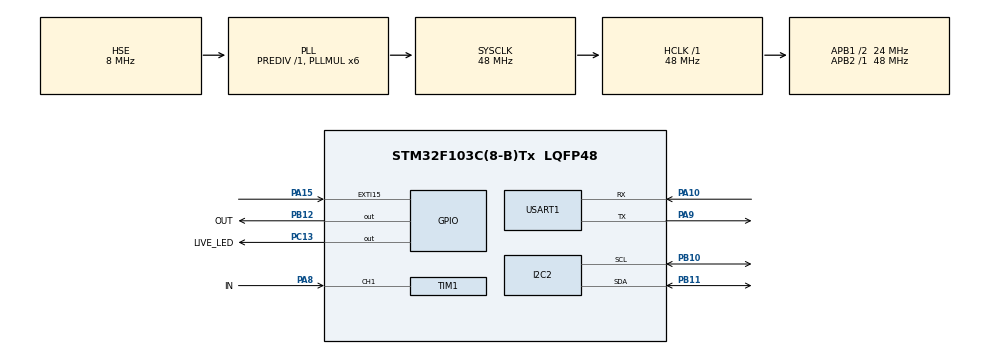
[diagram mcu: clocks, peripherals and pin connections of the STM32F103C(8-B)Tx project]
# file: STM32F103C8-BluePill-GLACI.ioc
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Dma.Request0=USART1_RX
Dma.USART1_RX.0.Direction=DMA_PERIPH_TO_MEMORY
Dma.USART1_RX.0.Instance=DMA1_Channel5
Dma.USART1_RX.0.MemDataAlignment=DMA_MDATAALIGN_BYTE
Dma.USART1_RX.0.MemInc=DMA_MINC_ENABLE
Dma.USART1_RX.0.Mode=DMA_NORMAL
Dma.USART1_RX.0.PeriphDataAlignment=DMA_PDATAALIGN_BYTE
Dma.USART1_RX.0.PeriphInc=DMA_PINC_DISABLE
Dma.USART1_RX.0.Priority=DMA_PRIORITY_MEDIUM
Mcu.Family=STM32F1
Mcu.Name=STM32F103C(8-B)Tx
Mcu.Package=LQFP48
NVIC.DMA1_Channel5_IRQn=true\:0\:0\:false\:false\:true\:false\:true\:true
NVIC.EXTI15_10_IRQn=true\:0\:0\:false\:false\:true\:true\:true\:true
NVIC.PriorityGroup=NVIC_PRIORITYGROUP_4
NVIC.TIM1_BRK_IRQn=true\:0\:0\:false\:false\:true\:true\:true\:true
NVIC.TIM1_CC_IRQn=true\:0\:0\:false\:false\:true\:true\:true\:true
NVIC.TIM1_TRG_COM_IRQn=true\:0\:0\:false\:false\:true\:true\:true\:true
NVIC.TIM1_UP_IRQn=true\:0\:0\:false\:false\:true\:true\:true\:true
NVIC.USART1_IRQn=true\:0\:0\:false\:false\:true\:true\:true\:true
PA10.Mode=Asynchronous
PA10.Signal=USART1_RX
PA13.Mode=Serial_Wire
PA13.Signal=SYS_JTMS-SWDIO
PA14.Mode=Serial_Wire
PA14.Signal=SYS_JTCK-SWCLK
PA15.GPIO_ModeDefaultEXTI=GPIO_MODE_IT_RISING_FALLING
PA15.Signal=GPXTI15
PA8.GPIO_Label=IN
PA8.Signal=S_TIM1_CH1
PA9.Mode=Asynchronous
PA9.Signal=USART1_TX
PB10.Mode=I2C
PB10.Signal=I2C2_SCL
PB11.Mode=I2C
PB11.Signal=I2C2_SDA
PB12.GPIO_Label=OUT
PB12.Signal=GPIO_Output
PC13-TAMPER-RTC.GPIO_Label=LIVE_LED
PC13-TAMPER-RTC.Signal=GPIO_Output
PD0-OSC_IN.Mode=HSE-External-Oscillator
PD0-OSC_IN.Signal=RCC_OSC_IN
PD1-OSC_OUT.Mode=HSE-External-Oscillator
PD1-OSC_OUT.Signal=RCC_OSC_OUT
ProjectManager.HeapSize=0x200
ProjectManager.StackSize=0x400
ProjectManager.TargetToolchain=STM32CubeIDE
RCC.AHBFreq_Value=48000000
RCC.APB1CLKDivider=RCC_HCLK_DIV2
RCC.APB1Freq_Value=24000000
RCC.APB1TimFreq_Value=48000000
RCC.APB2Freq_Value=48000000
RCC.APB2TimFreq_Value=48000000
RCC.HCLKFreq_Value=48000000
RCC.PLLMUL=RCC_PLL_MUL6
RCC.PLLSourceVirtual=RCC_PLLSOURCE_HSE
RCC.SYSCLKFreq_VALUE=48000000
RCC.SYSCLKSource=RCC_SYSCLKSOURCE_PLLCLK
RCC.USBFreq_Value=48000000
SH.S_TIM1_CH1.0=TIM1_CH1,Input_Capture1_from_TI1
TIM1.AutoReloadPreload=TIM_AUTORELOAD_PRELOAD_ENABLE
TIM1.Channel-Input_Capture1_from_TI1=TIM_CHANNEL_1
TIM1.ICPolarity_CH1=TIM_INPUTCHANNELPOLARITY_RISING
TIM1.ICPrescaler-Input_Capture1_from_TI1=TIM_ICPSC_DIV1
TIM1.Period=0xFFFF
TIM1.TIM_MasterOutputTrigger=TIM_TRGO_RESET
TIM1.TIM_MasterSlaveMode=TIM_MASTERSLAVEMODE_ENABLE
USART1.VirtualMode=VM_ASYNC
VP_TIM1_VS_ClockSourceINT.Mode=Internal
board=custom

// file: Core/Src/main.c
/* USER CODE BEGIN Header */
/**
  ******************************************************************************
  * @file           : main.c
  * @brief          : Main program body
  ******************************************************************************
  * @attention
  *
  * Copyright (c) 2022 STMicroelectronics.
  * All rights reserved.
  *
  * This software is licensed under terms that can be found in the LICENSE file
  * in the root directory of this software component.
  * If no LICENSE file comes with this software, it is provided AS-IS.
  *
  ******************************************************************************
  */
/* USER CODE END Header */
#include "main.h"

/* USER CODE BEGIN Includes */
#include "LiveLed.h"
#include "vt100.h"
#include "SSD1306_128x32_I2C.h"
#include <stdio.h>
#include "string.h"
#include "Common.h"
/* USER CODE END Includes */

/* USER CODE BEGIN PTD */

#define MAX_EDGES 1024
typedef struct _Device_t
{

  struct _Diag
  {
    uint32_t RxCommandsCounter;
    uint32_t TxResponseCounter;
    uint32_t RxDMAErrorCounter;
    uint32_t DMAstatus;
    uint32_t UartErrorCounter;
    uint32_t UartBufferOverflowCnt;
    uint32_t UpTimeSec;
  }Diag;

  struct _Man{
    uint8_t  Raw[MAX_EDGES/8];
    uint16_t EdgeIndex;
    uint16_t Times[256];
  }Man;
}Device_t;

/* USER CODE END PTD */

/* USER CODE BEGIN PD */

/*** UART ***/
#define UART_BUFFER_SIZE        40

/*** MANCHESTER DECODER ***/
#define MANCHESTER_BIT_TIME     4616

#define REALTIME_1_BIT    4616
#define REALTIME_1_5_BIT  1.5 * REALTIME_1_BIT
#define REALTIME_2_BIT    2 * REALTIME_1_BIT
#define BIT_4_5           3 * REALTIME_1_BIT

#define LESS              0
#define ONE_BIT           1
#define ONE_AND_HALF_BIT  2
#define TWO_BITS          3
#define INITIAL           4

/* USER CODE END PD */

 I2C_HandleTypeDef hi2c2;

TIM_HandleTypeDef htim1;

UART_HandleTypeDef huart1;
DMA_HandleTypeDef hdma_usart1_rx;

/* USER CODE BEGIN PV */
LiveLED_HnadleTypeDef hLiveLed;
Device_t Device;

/*** UART ***/
char UartRxBuffer[UART_BUFFER_SIZE];
char UartTxBuffer[UART_BUFFER_SIZE];

/* USER CODE END PV */

void SystemClock_Config(void);
static void MX_GPIO_Init(void);
static void MX_TIM1_Init(void);
static void MX_USART1_UART_Init(void);
static void MX_DMA_Init(void);
static void MX_I2C2_Init(void);
/* USER CODE BEGIN PFP */

/*** LiveLed ***/
void LiveLedOff(void);
void LiveLedOn(void);

/*** Display ***/
uint8_t DisplayI2CWrite(uint8_t* wdata, size_t wlength);

void ArrayToolsU8SetBit(const uint16_t index, void* array);

/* USER CODE END PFP */

/* USER CODE BEGIN 0 */

void HAL_TIM_IC_CaptureCallback(TIM_HandleTypeDef *htim)
{
/*
  if(Device.Man.EdgeIndex < 256)
  {
    Device.Man.Times[Device.Man.EdgeIndex] = HAL_TIM_ReadCapturedValue( htim, TIM_CHANNEL_1);

    DelayUs(2);
    if(HAL_GPIO_ReadPin(IN_GPIO_Port, IN_Pin) == GPIO_PIN_SET)
    {
      //ArrayToolsU8SetBit(Device.Man.EdgeIndex, Device.Man.Raw);
      HAL_GPIO_WritePin(OUT_GPIO_Port, OUT_Pin, GPIO_PIN_SET);
    }
    else
    {
      HAL_GPIO_WritePin(OUT_GPIO_Port, OUT_Pin, GPIO_PIN_RESET);
    }
    Device.Man.EdgeIndex ++;

  }

  __HAL_TIM_SetCounter(htim, 0);
*/
}

void HAL_GPIO_EXTI_Callback(uint16_t GPIO_Pin)
{
  if(Device.Man.EdgeIndex < MAX_EDGES)
  {
    if(HAL_GPIO_ReadPin(IN_GPIO_Port, IN_Pin) == GPIO_PIN_SET)
    {
      HAL_GPIO_WritePin(OUT_GPIO_Port, OUT_Pin, GPIO_PIN_SET);
      //ArrayToolsU8SetBit(Device.Man.EdgeIndex, Device.Man.Raw);
      uint8_t byteIdx = Device.Man.EdgeIndex / 8;
      uint8_t bitIdx = Device.Man.EdgeIndex % 8;
      Device.Man.Raw[byteIdx] |= (1<<bitIdx);
    }
    else
    {
      HAL_GPIO_WritePin(OUT_GPIO_Port, OUT_Pin, GPIO_PIN_RESET);
    }
    Device.Man.EdgeIndex ++;
  }
}

void ArrayToolsU8SetBit(const uint16_t index, void* array)
{
  uint8_t *ptr = array;
  uint16_t bitIndex;
  uint8_t  mask;
  uint8_t  byteIndex;

  mask = 0x80;
  byteIndex = 0x00;
  bitIndex = 1;

  byteIndex = index/8;
  if(index % 8)
  {
     bitIndex = index - (byteIndex*8);
     mask = 1;
     mask <<= bitIndex;
  }
  else
     mask = 0x01;

  ptr[byteIndex]|= mask;
}

void HAL_TIM_PeriodElapsedCallback(TIM_HandleTypeDef *htim)
{

}

/* UART ----------------------------------------------------------------------*/
void UartTask(void)
{
  uint8_t terminated = 0;

  if(strlen(UartRxBuffer)==0)
    return;

  for(uint8_t i=0; i<strlen(UartRxBuffer);i++)
  if(/*UartRxBuffer[i]=='\r' ||*/ UartRxBuffer[i]=='\n')
  {
    UartRxBuffer[i]=0;
    terminated = 1;
  }

  if(!terminated)
     return;
  else
    HAL_UART_DMAStop(&huart1);

  Device.Diag.RxCommandsCounter++;

  char cmd[20];
  char arg1[10];
  char arg2[10];
  uint8_t params = sscanf(UartRxBuffer, "%s %s %s", cmd, arg1, arg2);

  if(params == 1)
  {/*** parméter mentes utasitások ***/
    if(!strcmp(cmd, "*OPC?"))
    {
      strcpy(UartTxBuffer, "*OPC");
    }
    else if(!strcmp(cmd, "*RDY?"))
    {
      strcpy(UartTxBuffer, "*RDY");
    }
    else if(!strcmp(cmd, "*WHOIS?"))
    {
      strcpy(UartTxBuffer, DEVICE_NAME);
    }
    else if(!strcmp(cmd, "*VER?"))
    {
      strcpy(UartTxBuffer, DEVICE_FW);
    }
    else if(!strcmp(cmd, "*UID?"))
    {
      sprintf(UartTxBuffer, "%4lX%4lX%4lX",HAL_GetUIDw0(), HAL_GetUIDw1(), HAL_GetUIDw2());
    }
    else if(!strcmp(cmd,"UPTIME?"))
    {
      sprintf(UartTxBuffer, "%ld", Device.Diag.UpTimeSec);
    }
    else
    {
      strcpy(UartTxBuffer, "!UNKNOWN");
    }
  }
  if(params == 2)
  {/*** Paraméteres utasitások ***/
    strcpy(UartTxBuffer, "!UNKNOWN");
  }

  uint8_t resp_len =strlen(UartTxBuffer);
  UartTxBuffer[resp_len]= '\n';
  UartTxBuffer[++resp_len]= 0;

  HAL_Delay(100);
  if(strlen(UartTxBuffer)!=0)
  {
    Device.Diag.TxResponseCounter++;
    HAL_UART_Transmit(&huart1, (uint8_t*) UartTxBuffer, sizeof(UartTxBuffer), 100);
    memset(UartTxBuffer,0x00,UART_BUFFER_SIZE);
    if(HAL_UART_Receive_DMA(&huart1, (uint8_t*) UartRxBuffer, UART_BUFFER_SIZE) != HAL_OK)
      Device.Diag.RxDMAErrorCounter++;
  }
}

void HAL_UART_ErrorCallback(UART_HandleTypeDef *huart)
{
  Device.Diag.UartErrorCounter++;
  /*
  __HAL_UART_CLEAR_FLAG(huart,UART_CLEAR_PEF);
  __HAL_UART_CLEAR_FLAG(huart,UART_CLEAR_FEF);
  __HAL_UART_CLEAR_FLAG(huart,UART_CLEAR_NEF);
  __HAL_UART_CLEAR_FLAG(huart,UART_CLEAR_OREF);

  Device.Diag.DMAstatus = HAL_DMA_GetError(&hdma_usart1_rx);
  HAL_UART_DMAStop(&huart1);
  */

  HAL_UART_MspDeInit(&huart1);
  MX_USART1_UART_Init();

  if(HAL_UART_Receive_DMA(&huart1, (uint8_t*) UartRxBuffer, UART_BUFFER_SIZE) != HAL_OK)
    Device.Diag.RxDMAErrorCounter++;
}
/* USER CODE END 0 */

int main(void)
{

  /* MCU Configuration--------------------------------------------------------*/

  /* Reset of all peripherals, Initializes the Flash interface and the Systick. */
  HAL_Init();

  /* Configure the system clock */
  SystemClock_Config();

  /* Initialize all configured peripherals */
  MX_GPIO_Init();
  MX_TIM1_Init();
  MX_USART1_UART_Init();
  MX_DMA_Init();
  MX_I2C2_Init();
  /* USER CODE BEGIN 2 */

  printf(VT100_CLEARSCREEN);
  printf(VT100_CURSORHOME);
  printf(VT100_ATTR_RESET);

  /*** Display ***/
  SSD1306_Init(DisplayI2CWrite);
  SSD1306_DisplayClear();
  SSD1306_DisplayUpdate();

  SSD1306_DrawPixel(0, 0, SSD1306_WHITE);
  SSD1306_DrawPixel(SSD1306_WIDTH - 1, SSD1306_HEIGHT - 1, SSD1306_WHITE);
  SSD1306_DrawLine(0, 1, 127, 1, SSD1306_WHITE);
  SSD1306_DrawLine(0, 2, 127, 2, SSD1306_WHITE);
  SSD1306_DrawLine(3, 3, 4, 4, SSD1306_WHITE);

  SSD1306_SetCursor(0, 4);
  SSD1306_DrawString("Hello World", &GfxFont7x8, SSD1306_WHITE );
  SSD1306_DisplayUpdate();

  SSD1306_DisplayClear();
  SSD1306_DisplayUpdate();

  /*
#ifdef DEBUG
  printf(VT100_ATTR_RED);
  DeviceUsrLog("This is a DEBUG version.\n");
  printf(VT100_ATTR_RESET);
#endif

  DeviceUsrLog("Manufacturer:%s, Version:%04X",DEVICE_MNF, DEVICE_FW);
*/

  /*** LiveLed ***/
  hLiveLed.LedOffFnPtr = &LiveLedOff;
  hLiveLed.LedOnFnPtr = &LiveLedOn;
  hLiveLed.HalfPeriodTimeMs = 500;
  LiveLedInit(&hLiveLed);

  memset(Device.Man.Raw, 0x00, MAX_EDGES/8);

  /*** "Kelj fel és járj" ***/
  HAL_UART_Receive_DMA (&huart1, (uint8_t*)UartRxBuffer, UART_BUFFER_SIZE);

  /* USER CODE END 2 */

  /* Infinite loop */
  /* USER CODE BEGIN WHILE */
  while (1)
  {
    static uint32_t timestamp;
    static uint32_t timestamp1s;
    LiveLedTask(&hLiveLed);
    char string[50];

    if(HAL_GetTick() - timestamp > 250)
    {
      timestamp = HAL_GetTick();
      SSD1306_SetCursor(0, 1);
      memset(string, 0x00, sizeof(string));
      sprintf(string, "Live:%04ld", Device.Diag.UpTimeSec);

      SSD1306_DisplayClear();
      SSD1306_DrawString(string, &GfxFont7x8, SSD1306_WHITE );
      SSD1306_DisplayUpdate();
    }

    if(HAL_GetTick() - timestamp1s > 1000)
    {
        timestamp1s = HAL_GetTick();
        /*** 1sec-es ütem ***/
        Device.Diag.UpTimeSec++;
    }

    /* USER CODE END WHILE */

  }
}

void SystemClock_Config(void)
{
  RCC_OscInitTypeDef RCC_OscInitStruct = {0};
  RCC_ClkInitTypeDef RCC_ClkInitStruct = {0};

  /** Initializes the RCC Oscillators according to the specified parameters
  * in the RCC_OscInitTypeDef structure.
  */
  RCC_OscInitStruct.OscillatorType = RCC_OSCILLATORTYPE_HSE;
  RCC_OscInitStruct.HSEState = RCC_HSE_ON;
  RCC_OscInitStruct.HSEPredivValue = RCC_HSE_PREDIV_DIV1;
  RCC_OscInitStruct.HSIState = RCC_HSI_ON;
  RCC_OscInitStruct.PLL.PLLState = RCC_PLL_ON;
  RCC_OscInitStruct.PLL.PLLSource = RCC_PLLSOURCE_HSE;
  RCC_OscInitStruct.PLL.PLLMUL = RCC_PLL_MUL6;
  if (HAL_RCC_OscConfig(&RCC_OscInitStruct) != HAL_OK)
  {
    Error_Handler();
  }

  /** Initializes the CPU, AHB and APB buses clocks
  */
  RCC_ClkInitStruct.ClockType = RCC_CLOCKTYPE_HCLK|RCC_CLOCKTYPE_SYSCLK
                              |RCC_CLOCKTYPE_PCLK1|RCC_CLOCKTYPE_PCLK2;
  RCC_ClkInitStruct.SYSCLKSource = RCC_SYSCLKSOURCE_PLLCLK;
  RCC_ClkInitStruct.AHBCLKDivider = RCC_SYSCLK_DIV1;
  RCC_ClkInitStruct.APB1CLKDivider = RCC_HCLK_DIV2;
  RCC_ClkInitStruct.APB2CLKDivider = RCC_HCLK_DIV1;

  if (HAL_RCC_ClockConfig(&RCC_ClkInitStruct, FLASH_LATENCY_1) != HAL_OK)
  {
    Error_Handler();
  }
}

static void MX_I2C2_Init(void)
{

  hi2c2.Instance = I2C2;
  hi2c2.Init.ClockSpeed = 100000;
  hi2c2.Init.DutyCycle = I2C_DUTYCYCLE_2;
  hi2c2.Init.OwnAddress1 = 0;
  hi2c2.Init.AddressingMode = I2C_ADDRESSINGMODE_7BIT;
  hi2c2.Init.DualAddressMode = I2C_DUALADDRESS_DISABLE;
  hi2c2.Init.OwnAddress2 = 0;
  hi2c2.Init.GeneralCallMode = I2C_GENERALCALL_DISABLE;
  hi2c2.Init.NoStretchMode = I2C_NOSTRETCH_DISABLE;
  if (HAL_I2C_Init(&hi2c2) != HAL_OK)
  {
    Error_Handler();
  }

}

static void MX_TIM1_Init(void)
{

  TIM_ClockConfigTypeDef sClockSourceConfig = {0};
  TIM_MasterConfigTypeDef sMasterConfig = {0};
  TIM_IC_InitTypeDef sConfigIC = {0};

  htim1.Instance = TIM1;
  htim1.Init.Prescaler = 0;
  htim1.Init.CounterMode = TIM_COUNTERMODE_UP;
  htim1.Init.Period = 0xFFFF;
  htim1.Init.ClockDivision = TIM_CLOCKDIVISION_DIV1;
  htim1.Init.RepetitionCounter = 0;
  htim1.Init.AutoReloadPreload = TIM_AUTORELOAD_PRELOAD_ENABLE;
  if (HAL_TIM_Base_Init(&htim1) != HAL_OK)
  {
    Error_Handler();
  }
  sClockSourceConfig.ClockSource = TIM_CLOCKSOURCE_INTERNAL;
  if (HAL_TIM_ConfigClockSource(&htim1, &sClockSourceConfig) != HAL_OK)
  {
    Error_Handler();
  }
  if (HAL_TIM_IC_Init(&htim1) != HAL_OK)
  {
    Error_Handler();
  }
  sMasterConfig.MasterOutputTrigger = TIM_TRGO_RESET;
  sMasterConfig.MasterSlaveMode = TIM_MASTERSLAVEMODE_ENABLE;
  if (HAL_TIMEx_MasterConfigSynchronization(&htim1, &sMasterConfig) != HAL_OK)
  {
    Error_Handler();
  }
  sConfigIC.ICPolarity = TIM_INPUTCHANNELPOLARITY_RISING;
  sConfigIC.ICSelection = TIM_ICSELECTION_DIRECTTI;
  sConfigIC.ICPrescaler = TIM_ICPSC_DIV1;
  sConfigIC.ICFilter = 0;
  if (HAL_TIM_IC_ConfigChannel(&htim1, &sConfigIC, TIM_CHANNEL_1) != HAL_OK)
  {
    Error_Handler();
  }
  /* USER CODE BEGIN TIM1_Init 2 */

  sConfigIC.ICPolarity = TIM_INPUTCHANNELPOLARITY_BOTHEDGE;
  sConfigIC.ICSelection = TIM_ICSELECTION_DIRECTTI;
  sConfigIC.ICPrescaler = TIM_ICPSC_DIV1;
  sConfigIC.ICFilter = 0;
  if (HAL_TIM_IC_ConfigChannel(&htim1, &sConfigIC, TIM_CHANNEL_1) != HAL_OK)
  {
    Error_Handler();
  }

  if(HAL_TIM_IC_Start_IT(&htim1, TIM_CHANNEL_1) != HAL_OK)
  {
    printf("Capture CH1 Interrupt Error\r\n");
  }

  /* USER CODE END TIM1_Init 2 */

}

static void MX_USART1_UART_Init(void)
{

  huart1.Instance = USART1;
  huart1.Init.BaudRate = 115200;
  huart1.Init.WordLength = UART_WORDLENGTH_8B;
  huart1.Init.StopBits = UART_STOPBITS_1;
  huart1.Init.Parity = UART_PARITY_NONE;
  huart1.Init.Mode = UART_MODE_TX_RX;
  huart1.Init.HwFlowCtl = UART_HWCONTROL_NONE;
  huart1.Init.OverSampling = UART_OVERSAMPLING_16;
  if (HAL_UART_Init(&huart1) != HAL_OK)
  {
    Error_Handler();
  }

}

static void MX_DMA_Init(void)
{

  /* DMA controller clock enable */
  __HAL_RCC_DMA1_CLK_ENABLE();

  /* DMA interrupt init */
  /* DMA1_Channel5_IRQn interrupt configuration */
  HAL_NVIC_SetPriority(DMA1_Channel5_IRQn, 0, 0);
  HAL_NVIC_EnableIRQ(DMA1_Channel5_IRQn);

}

static void MX_GPIO_Init(void)
{
  GPIO_InitTypeDef GPIO_InitStruct = {0};

  /* GPIO Ports Clock Enable */
  __HAL_RCC_GPIOC_CLK_ENABLE();
  __HAL_RCC_GPIOD_CLK_ENABLE();
  __HAL_RCC_GPIOB_CLK_ENABLE();
  __HAL_RCC_GPIOA_CLK_ENABLE();

  /*Configure GPIO pin Output Level */
  HAL_GPIO_WritePin(LIVE_LED_GPIO_Port, LIVE_LED_Pin, GPIO_PIN_RESET);

  /*Configure GPIO pin Output Level */
  HAL_GPIO_WritePin(OUT_GPIO_Port, OUT_Pin, GPIO_PIN_RESET);

  /*Configure GPIO pin : LIVE_LED_Pin */
  GPIO_InitStruct.Pin = LIVE_LED_Pin;
  GPIO_InitStruct.Mode = GPIO_MODE_OUTPUT_PP;
  GPIO_InitStruct.Pull = GPIO_NOPULL;
  GPIO_InitStruct.Speed = GPIO_SPEED_FREQ_LOW;
  HAL_GPIO_Init(LIVE_LED_GPIO_Port, &GPIO_InitStruct);

  /*Configure GPIO pin : OUT_Pin */
  GPIO_InitStruct.Pin = OUT_Pin;
  GPIO_InitStruct.Mode = GPIO_MODE_OUTPUT_PP;
  GPIO_InitStruct.Pull = GPIO_NOPULL;
  GPIO_InitStruct.Speed = GPIO_SPEED_FREQ_LOW;
  HAL_GPIO_Init(OUT_GPIO_Port, &GPIO_InitStruct);

  /*Configure GPIO pin : PA15 */
  GPIO_InitStruct.Pin = GPIO_PIN_15;
  GPIO_InitStruct.Mode = GPIO_MODE_IT_RISING_FALLING;
  GPIO_InitStruct.Pull = GPIO_NOPULL;
  HAL_GPIO_Init(GPIOA, &GPIO_InitStruct);

  /* EXTI interrupt init*/
  HAL_NVIC_SetPriority(EXTI15_10_IRQn, 0, 0);
  HAL_NVIC_EnableIRQ(EXTI15_10_IRQn);

}

/* USER CODE BEGIN 4 */
/* LEDs ---------------------------------------------------------------------*/
void LiveLedOn(void)
{
  HAL_GPIO_WritePin(LIVE_LED_GPIO_Port, LIVE_LED_Pin, GPIO_PIN_SET);
}

void LiveLedOff(void)
{
  HAL_GPIO_WritePin(LIVE_LED_GPIO_Port, LIVE_LED_Pin, GPIO_PIN_RESET);
}
/* printf --------------------------------------------------------------------*/
int _write(int file, char *ptr, int len)
{
  //HAL_UART_Transmit(&huart1, (uint8_t*)ptr, len, 100);
  int i=0;
  for(i=0 ; i<len ; i++)
    ITM_SendChar((*ptr++));
  return len;
}

/* Display -------------------------------------------------------------------*/
uint8_t DisplayI2CWrite(uint8_t* wdata, size_t wlength){
    uint8_t address = 0x78;
    while (HAL_I2C_GetState(&hi2c2) != HAL_I2C_STATE_READY) {}
    while (HAL_I2C_IsDeviceReady(&hi2c2, address, 3, 300) != HAL_OK) { }
    HAL_I2C_Master_Transmit(&hi2c2, address, wdata, wlength, 100);
    while (HAL_I2C_GetState(&hi2c2) != HAL_I2C_STATE_READY) {}
    return 0;
}

/* TIMER-- -------------------------------------------------------------------*/

/* USER CODE END 4 */

void Error_Handler(void)
{
  __disable_irq();
  while (1)
  {
  }
}
